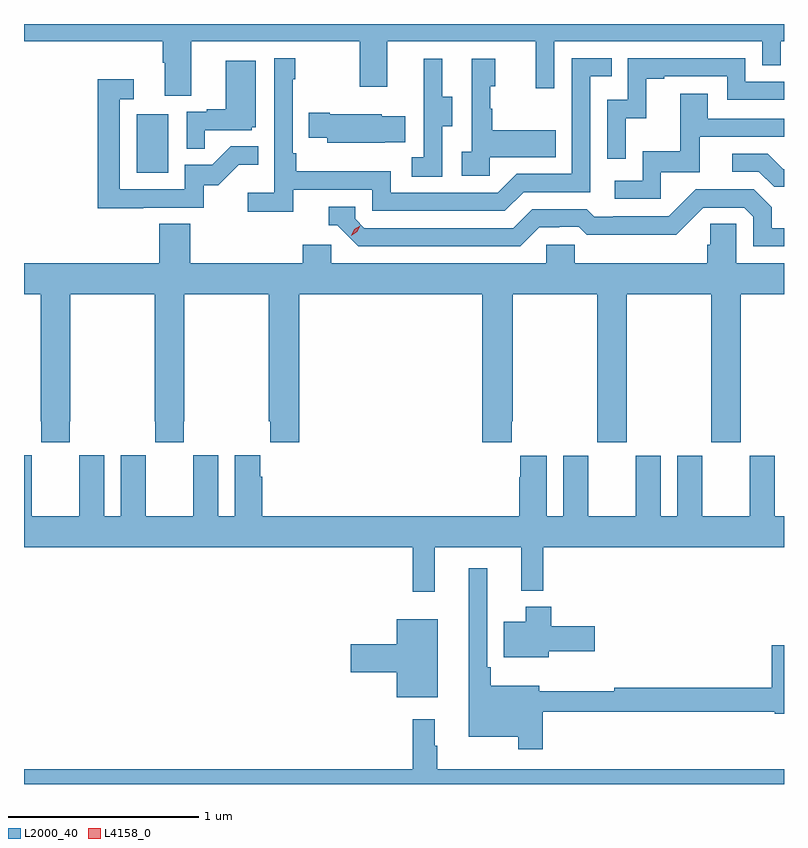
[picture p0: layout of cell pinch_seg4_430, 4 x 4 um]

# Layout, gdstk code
import gdstk
lib = gdstk.Library(unit=1e-6, precision=1e-09)
def R(c, l, rs):  # rectangles x0, y0, x1, y1
    for r in rs: c.add(gdstk.rectangle(r[:2], r[2:], *l))
def P(c, l, *ps):  # polygons
    for p in ps: c.add(gdstk.Polygon(p, *l))
L2000_40 = (2000, 40)
L4158_0 = (4158, 0)

pinch_seg4_430 = lib.new_cell('pinch_seg4_430')
R(pinch_seg4_430, L2000_40, [(926.336,773.484,926.5,773.791)])
P(pinch_seg4_430, L2000_40, [(925.742,774.176),(926.471,774.176),(926.471,774.064),(926.483,774.064),(926.483,773.89),(926.623,773.89),(926.623,774.176),(927.508,774.176),(927.508,773.937),(927.655,773.937),(927.655,774.176),(928.436,774.176),(928.436,773.928),(928.533,773.928),(928.533,774.176),(929.628,774.176),(929.628,774.049),(929.724,774.049),(929.724,774.176),(929.742,774.176),(929.742,774.267),(925.742,774.267)],
  [(927.158,773.394),(927.576,773.394),(927.576,773.283),(928.273,773.283),(928.372,773.382),(928.722,773.382),(928.722,773.991),(928.835,773.991),(928.835,774.087),(928.626,774.087),(928.626,773.478),(928.335,773.478),(928.236,773.379),(927.672,773.379),(927.672,773.491),(927.176,773.491),(927.176,773.587),(927.156,773.587),(927.156,773.975),(927.169,773.975),(927.169,774.088),(927.06,774.088),(927.06,773.38),(926.919,773.38),(926.919,773.278),(927.158,773.278)],
  [(928.908,773.771),(929.018,773.771),(929.018,773.979),(929.113,773.979),(929.113,773.991),(929.442,773.991),(929.442,773.868),(929.742,773.868),(929.742,773.964),(929.538,773.964),(929.538,774.087),(928.92,774.087),(928.92,773.868),(928.812,773.868),(928.812,773.559),(928.908,773.559)],
  [(927.942,773.728),(927.997,773.728),(927.997,773.883),(927.943,773.883),(927.943,774.085),(927.845,774.085),(927.845,773.871),(927.846,773.871),(927.846,773.567),(927.783,773.567),(927.783,773.464),(927.942,773.464)],
  [(928.194,773.567),(928.541,773.567),(928.541,773.707),(928.207,773.707),(928.207,773.822),(928.197,773.822),(928.197,773.94),(928.222,773.94),(928.222,774.085),(928.098,774.085),(928.098,773.594),(928.047,773.594),(928.047,773.469),(928.194,773.469)],
  [(926.693,773.709),(926.94,773.709),(926.94,773.724),(926.962,773.724),(926.962,774.073),(926.804,774.073),(926.804,773.818),(926.705,773.818),(926.705,773.805),(926.598,773.805),(926.598,773.611),(926.693,773.611)],
  [(926.369,773.301),(926.688,773.301),(926.688,773.418),(926.764,773.418),(926.871,773.525),(926.975,773.525),(926.975,773.624),(926.831,773.624),(926.733,773.526),(926.589,773.526),(926.589,773.397),(926.247,773.397),(926.247,773.871),(926.32,773.871),(926.32,773.977),(926.131,773.977),(926.131,773.296),(926.369,773.296)],
  [(929.094,773.487),(929.299,773.487),(929.299,773.673),(929.742,773.673),(929.742,773.769),(929.341,773.769),(929.341,773.899),(929.197,773.899),(929.197,773.596),(928.998,773.596),(928.998,773.442),(928.851,773.442),(928.851,773.346),(929.094,773.346)],
  [(927.641,773.645),(927.749,773.645),(927.749,773.782),(927.624,773.782),(927.624,773.791),(927.352,773.791),(927.352,773.799),(927.241,773.799),(927.241,773.669),(927.339,773.669),(927.339,773.642),(927.641,773.642)],
  [(929.742,773.502),(929.737,773.502),(929.656,773.583),(929.469,773.583),(929.469,773.49),(929.61,773.49),(929.69,773.41),(929.742,773.41)],
  [(928.453,773.196),(928.56,773.196),(928.56,773.199),(928.663,773.199),(928.705,773.157),(928.938,773.157),(928.938,773.159),(929.174,773.159),(929.316,773.301),(929.532,773.301),(929.58,773.253),(929.58,773.097),(929.742,773.097),(929.742,773.193),(929.677,773.193),(929.677,773.303),(929.583,773.397),(929.277,773.397),(929.136,773.256),(928.843,773.256),(928.843,773.253),(928.744,773.253),(928.705,773.292),(928.416,773.292),(928.317,773.193),(927.534,773.193),(927.486,773.241),(927.486,773.304),(927.347,773.304),(927.347,773.208),(927.39,773.208),(927.501,773.097),(928.354,773.097)],
  [(926.453,773.008),(925.742,773.008),(925.742,772.844),(925.831,772.844),(925.831,772.177),(925.833,772.177),(925.833,772.065),(925.983,772.065),(925.983,772.177),(925.986,772.177),(925.986,772.844),(926.431,772.844),(926.431,772.177),(926.433,772.177),(926.433,772.065),(926.583,772.065),(926.583,772.177),(926.586,772.177),(926.586,772.844),(927.031,772.844),(927.031,772.177),(927.037,772.177),(927.037,772.065),(927.191,772.065),(927.191,772.844),(928.154,772.844),(928.154,772.065),(928.309,772.065),(928.309,772.177),(928.314,772.177),(928.314,772.844),(928.759,772.844),(928.759,772.065),(928.914,772.065),(928.914,772.844),(929.359,772.844),(929.359,772.065),(929.514,772.065),(929.514,772.844),(929.742,772.844),(929.742,773.008),(929.49,773.008),(929.49,773.216),(929.353,773.216),(929.353,773.106),(929.339,773.106),(929.339,773.008),(928.641,773.008),(928.641,773.106),(928.491,773.106),(928.491,773.008),(927.36,773.008),(927.36,773.106),(927.209,773.106),(927.209,773.008),(926.618,773.008),(926.618,773.216),(926.453,773.216)],
  [(926.382,771.884),(926.382,771.997),(926.252,771.997),(926.252,771.676),(926.164,771.676),(926.164,771.997),(926.034,771.997),(926.034,771.884),(926.033,771.884),(926.033,771.676),(925.783,771.676),(925.783,771.884),(925.782,771.884),(925.782,771.997),(925.742,771.997),(925.742,771.512),(927.787,771.512),(927.787,771.279),(927.905,771.279),(927.905,771.512),(928.358,771.512),(928.358,771.284),(928.475,771.284),(928.475,771.512),(929.742,771.512),(929.742,771.676),(929.692,771.676),(929.692,771.994),(929.561,771.994),(929.561,771.676),(929.311,771.676),(929.311,771.994),(929.18,771.994),(929.18,771.676),(929.092,771.676),(929.092,771.994),(928.961,771.994),(928.961,771.676),(928.711,771.676),(928.711,771.994),(928.58,771.994),(928.58,771.676),(928.492,771.676),(928.492,771.994),(928.355,771.994),(928.355,771.881),(928.349,771.881),(928.349,771.676),(926.996,771.676),(926.996,771.884),(926.986,771.884),(926.986,771.997),(926.852,771.997),(926.852,771.676),(926.764,771.676),(926.764,771.997),(926.634,771.997),(926.634,771.884),(926.633,771.884),(926.633,771.676),(926.383,771.676),(926.383,771.884)],
  [(928.472,770.646),(929.694,770.646),(929.694,770.638),(929.742,770.638),(929.742,770.998),(929.678,770.998),(929.678,770.774),(928.849,770.774),(928.849,770.756),(928.453,770.756),(928.453,770.785),(928.199,770.785),(928.199,770.881),(928.179,770.881),(928.179,771.403),(928.082,771.403),(928.082,770.516),(928.344,770.516),(928.344,770.451),(928.472,770.451)],
  [(928.504,770.966),(928.747,770.966),(928.747,771.096),(928.517,771.096),(928.517,771.199),(928.382,771.199),(928.382,771.121),(928.268,771.121),(928.268,770.933),(928.504,770.933)],
  [(927.919,771.133),(927.704,771.133),(927.704,771.002),(927.462,771.002),(927.462,770.855),(927.704,770.855),(927.704,770.723),(927.919,770.723)],
  [(929.742,770.344),(927.916,770.344),(927.916,770.468),(927.904,770.468),(927.904,770.608),(927.787,770.608),(927.787,770.344),(925.742,770.344),(925.742,770.267),(929.742,770.267)])
P(pinch_seg4_430, L4158_0, [(927.465,773.153),(927.465,773.153),(927.481,773.186),(927.511,773.206),(927.512,773.206),(927.512,773.206),(927.496,773.173),(927.465,773.153)])

lib.write_gds('pinch_seg4_430.gds')
